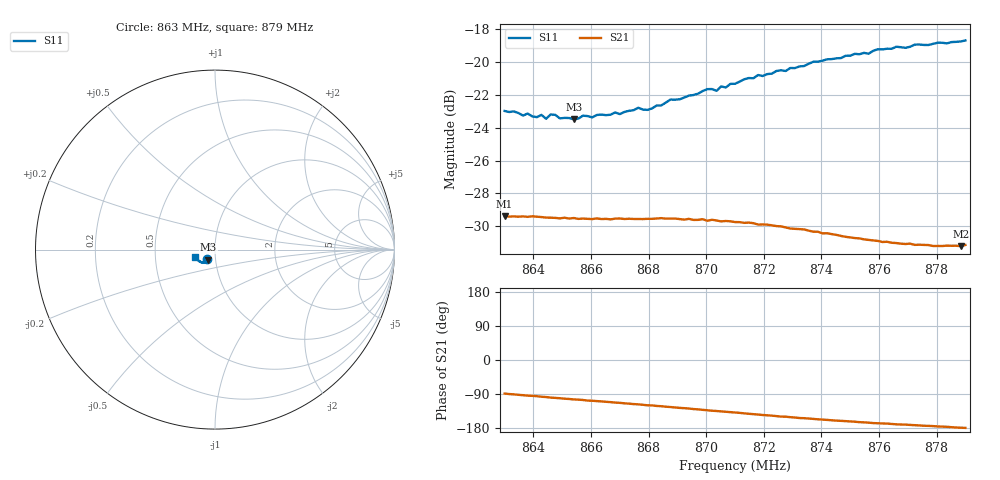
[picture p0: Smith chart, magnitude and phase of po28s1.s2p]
# HZ S RI R 50
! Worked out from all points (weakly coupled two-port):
!   101 points, 863 MHz to 879 MHz, reference 50 ohm
!   highest |S21| = -29.40 dB at 863 MHz (marker M1); lowest = -31.2 dB at 878.84 MHz (marker M2)
!   lowest |S11| = -23.5 dB at 865.4 MHz (marker M3), VSWR 1.14, Z = 46.2 - j5.19 ohm
!   |S11| at or under -10 dB: start of sweep to end of sweep
!   S12 and S22 are empty: the file has one direction only
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8.63e8  -0.0456 -0.0544  0.000849 -0.0339  0 0  0 0
8.6412e8  -0.0407 -0.0544  -0.00318 -0.0336  0 0  0 0
8.6428e8  -0.0406 -0.0559  -0.0041 -0.0335  0 0  0 0
8.6444e8  -0.0395 -0.0543  -0.00451 -0.0333  0 0  0 0
8.646e8  -0.0414 -0.0556  -0.0054 -0.0331  0 0  0 0
8.654e8  -0.0368 -0.056  -0.00812 -0.0325  0 0  0 0
8.6572e8  -0.0367 -0.0581  -0.00891 -0.0321  0 0  0 0
8.67e8  -0.0365 -0.0591  -0.0131 -0.0307  0 0  0 0
8.6764e8  -0.038 -0.0619  -0.0151 -0.0296  0 0  0 0
8.6796e8  -0.0368 -0.0614  -0.0164 -0.029  0 0  0 0
8.6844e8  -0.0367 -0.0641  -0.0177 -0.0284  0 0  0 0
8.6876e8  -0.0392 -0.0662  -0.0187 -0.0276  0 0  0 0
8.6908e8  -0.0397 -0.0661  -0.0197 -0.0267  0 0  0 0
8.7004e8  -0.0434 -0.0705  -0.0222 -0.0242  0 0  0 0
8.7036e8  -0.0438 -0.0691  -0.0231 -0.0234  0 0  0 0
8.7052e8  -0.0453 -0.0712  -0.0234 -0.0229  0 0  0 0
8.71e8  -0.0476 -0.0715  -0.0244 -0.0215  0 0  0 0
8.718e8  -0.0535 -0.0741  -0.0258 -0.0188  0 0  0 0
8.7372e8  -0.0677 -0.0741  -0.0277 -0.0126  0 0  0 0
8.7644e8  -0.091 -0.0615  -0.0276 -0.00546  0 0  0 0
8.7884e8  -0.1081 -0.0412  -0.0275 -0.000613  0 0  0 0
8.79e8  -0.1095 -0.0397  -0.0277 -0.000395  0 0  0 0
